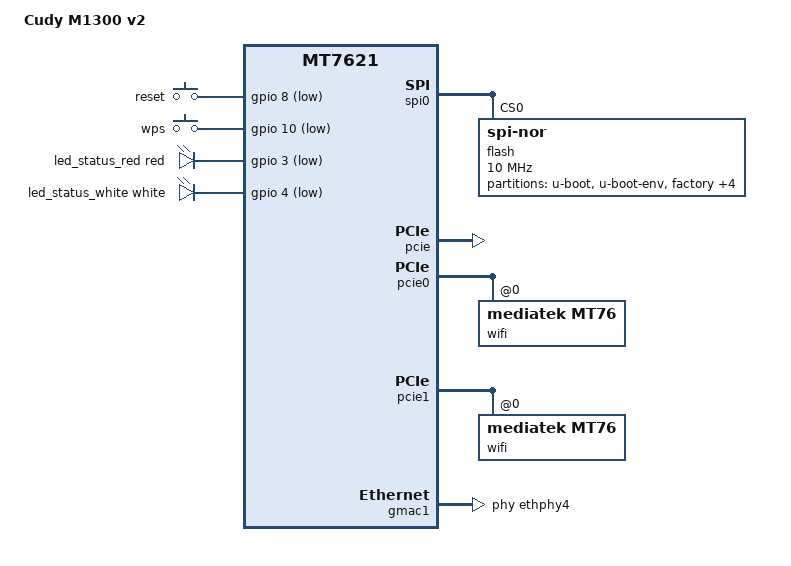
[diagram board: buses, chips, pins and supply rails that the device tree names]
// SPDX-License-Identifier: GPL-2.0-or-later OR MIT

#include "mt7621.dtsi"

#include <dt-bindings/input/input.h>
#include <dt-bindings/leds/common.h>
#include <dt-bindings/gpio/gpio.h>

/ {
	compatible = "cudy,m1300-v2", "mediatek,mt7621-soc";
	model = "Cudy M1300 v2";
};

/ {
	aliases {
		led-boot = &led_status_white;
		led-failsafe = &led_status_red;
		led-running = &led_status_white;
		led-upgrade = &led_status_red;
		label-mac-device = &gmac0;
	};

	chosen {
		bootargs = "console=ttyS0,115200";
	};

	keys {
		compatible = "gpio-keys";

		reset {
			label = "reset";
			gpios = <&gpio 8 GPIO_ACTIVE_LOW>;
			linux,code = <KEY_RESTART>;
		};

		wps {
			label = "wps";
			gpios = <&gpio 10 GPIO_ACTIVE_LOW>;
			linux,code = <KEY_WPS_BUTTON>;
		};
	};

	leds {
		compatible = "gpio-leds";

		led_status_red: led-status-red {
			color = <LED_COLOR_ID_RED>;
			function = LED_FUNCTION_STATUS;
			gpios = <&gpio 3 GPIO_ACTIVE_LOW>;
		};

		led_status_white: led-status-white {
			color = <LED_COLOR_ID_WHITE>;
			function = LED_FUNCTION_STATUS;
			gpios = <&gpio 4 GPIO_ACTIVE_LOW>;
		};
	};
};

&spi0 {
	status = "okay";

	flash@0 {
		compatible = "jedec,spi-nor";
		reg = <0>;
		spi-max-frequency = <10000000>;

		partitions {
			compatible = "fixed-partitions";
			#address-cells = <1>;
			#size-cells = <1>;

			partition@0 {
				label = "u-boot";
				reg = <0x0 0x30000>;
				read-only;
			};

			partition@30000 {
				label = "u-boot-env";
				reg = <0x30000 0x10000>;
				read-only;
			};

			partition@40000 {
				label = "factory";
				reg = <0x40000 0x10000>;
				read-only;

				nvmem-layout {
					compatible = "fixed-layout";
					#address-cells = <1>;
					#size-cells = <1>;

					eeprom_factory_0: eeprom@0 {
						reg = <0x0 0x400>;
					};

					eeprom_factory_8000: eeprom@8000 {
						reg = <0x8000 0x4da8>;
					};
				};
			};

			partition@50000 {
				compatible = "denx,uimage";
				label = "firmware";
				reg = <0x50000 0xf80000>;
			};

			partition@fd0000 {
				label = "debug";
				reg = <0xfd0000 0x10000>;
				read-only;
			};

			partition@fe0000 {
				label = "backup";
				reg = <0xfe0000 0x10000>;
				read-only;
			};

			partition@ff0000 {
				label = "bdinfo";
				reg = <0xff0000 0x10000>;
				read-only;

				nvmem-layout {
					compatible = "fixed-layout";
					#address-cells = <1>;
					#size-cells = <1>;

					macaddr_bdinfo_de00: macaddr@de00 {
						compatible = "mac-base";
						reg = <0xde00 0x6>;
						#nvmem-cell-cells = <1>;
					};
				};
			};
		};
	};
};

&pcie {
	status = "okay";
};

&pcie0 {
       wifi@0,0 {
               compatible = "mediatek,mt76";
               reg = <0x0000 0 0 0 0>;
               nvmem-cells = <&eeprom_factory_0>, <&macaddr_bdinfo_de00 0>;
               nvmem-cell-names = "eeprom", "mac-address";
               ieee80211-freq-limit = <2400000 2500000>;
       };
};

&pcie1 {
       wifi@0,0 {
               compatible = "mediatek,mt76";
               reg = <0x0000 0 0 0 0>;
               nvmem-cells = <&eeprom_factory_8000>, <&macaddr_bdinfo_de00 2>;
               nvmem-cell-names = "eeprom", "mac-address";
               ieee80211-freq-limit = <5000000 6000000>;
       };
};


&gmac0 {
	nvmem-cells = <&macaddr_bdinfo_de00 0>;
	nvmem-cell-names = "mac-address";
};

&gmac1 {
	status = "okay";
	label = "wan";
	phy-handle = <&ethphy4>;

	nvmem-cells = <&macaddr_bdinfo_de00 2>;
	nvmem-cell-names = "mac-address";
};

&ethphy4 {
	/delete-property/ interrupts;
};

&switch0 {
	ports {
		port@3 {
			status = "okay";
			label = "lan";
		};
	};
};

&state_default {
	gpio {
		groups = "wdt", "jtag";
		function = "gpio";
	};
};
